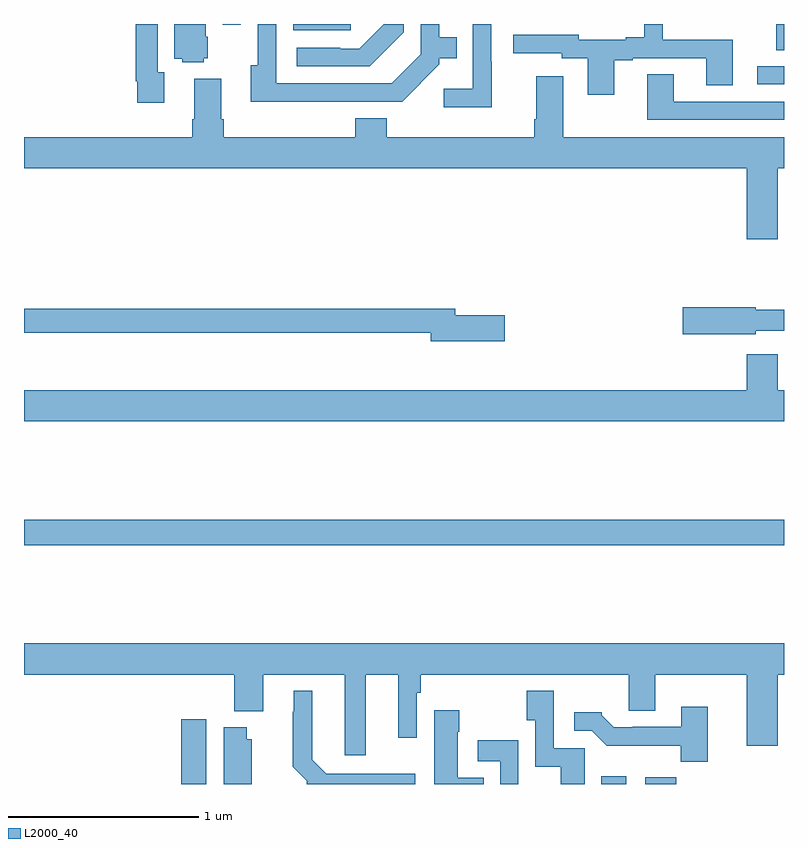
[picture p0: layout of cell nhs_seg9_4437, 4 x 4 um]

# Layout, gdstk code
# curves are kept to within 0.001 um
import gdstk
lib = gdstk.Library(unit=1e-6, precision=1e-09)
def R(c, l, rs):  # rectangles x0, y0, x1, y1
    for r in rs: c.add(gdstk.rectangle(r[:2], r[2:], *l))
def P(c, l, *ps):  # polygons
    for p in ps: c.add(gdstk.Polygon(p, *l))
L2000_40 = (2000, 40)

nhs_seg9_4437 = lib.new_cell('nhs_seg9_4437')
R(nhs_seg9_4437, L2000_40, [(365.828,1206.5,365.959,1206.841), (368.039,1206.5,368.17,1206.541), (368.27,1206.5,368.432,1206.535), (365,1207.756,369,1207.892), (368.859,1210.182,369,1210.278), (368.959,1210.363,369,1210.5), (366.416,1210.467,366.721,1210.5), (366.045,1210.497,366.141,1210.5)])
P(nhs_seg9_4437, L2000_40, [(365.737,1210.247),(365.703,1210.247),(365.703,1210.5),(365.587,1210.5),(365.587,1210.198),(365.595,1210.198),(365.595,1210.086),(365.737,1210.086)],
  [(366.999,1210.457),(366.999,1210.5),(366.894,1210.5),(366.765,1210.371),(366.665,1210.371),(366.665,1210.374),(366.435,1210.374),(366.435,1210.278),(366.82,1210.278)],
  [(367.461,1210.301),(367.458,1210.301),(367.458,1210.5),(367.362,1210.5),(367.362,1210.159),(367.209,1210.159),(367.209,1210.061),(367.461,1210.061)],
  [(365.946,1210.32),(365.968,1210.32),(365.968,1210.434),(365.956,1210.434),(365.956,1210.5),(365.792,1210.5),(365.792,1210.316),(365.832,1210.316),(365.832,1210.298),(365.946,1210.298)],
  [(366.659,1210.092),(366.99,1210.092),(367.185,1210.287),(367.185,1210.319),(367.277,1210.319),(367.277,1210.429),(367.186,1210.429),(367.186,1210.5),(367.089,1210.5),(367.089,1210.341),(366.936,1210.188),(366.327,1210.188),(366.327,1210.5),(366.231,1210.5),(366.231,1210.282),(366.194,1210.282),(366.194,1210.091)],
  [(368.107,1210.308),(368.203,1210.308),(368.203,1210.32),(368.591,1210.32),(368.591,1210.177),(368.731,1210.177),(368.731,1210.416),(368.361,1210.416),(368.361,1210.5),(368.264,1210.5),(368.264,1210.429),(368.168,1210.429),(368.168,1210.416),(367.92,1210.416),(367.92,1210.443),(367.575,1210.443),(367.575,1210.347),(367.83,1210.347),(367.83,1210.32),(367.967,1210.32),(367.967,1210.128),(368.107,1210.128)],
  [(369,1210.092),(368.419,1210.092),(368.419,1210.235),(368.279,1210.235),(368.279,1209.996),(369,1209.996)],
  [(368.968,1209.74),(369,1209.74),(369,1209.904),(367.837,1209.904),(367.837,1210.225),(367.697,1210.225),(367.697,1210),(367.685,1210),(367.685,1209.904),(366.908,1209.904),(366.908,1210.003),(366.743,1210.003),(366.743,1209.904),(366.05,1209.904),(366.05,1210),(366.037,1210),(366.037,1210.213),(365.897,1210.213),(365.897,1210),(365.885,1210),(365.885,1209.904),(365,1209.904),(365,1209.74),(368.804,1209.74),(368.804,1209.366),(368.968,1209.366)],
  [(368.85,1208.886),(369,1208.886),(369,1208.995),(368.85,1208.995),(368.85,1209.008),(368.466,1209.008),(368.466,1208.866),(368.85,1208.866)],
  [(367.531,1208.966),(367.27,1208.966),(367.27,1209.002),(365,1209.002),(365,1208.874),(367.142,1208.874),(367.142,1208.831),(367.531,1208.831)],
  [(369,1208.572),(368.968,1208.572),(368.968,1208.761),(368.804,1208.761),(368.804,1208.572),(365,1208.572),(365,1208.408),(369,1208.408)],
  [(366.799,1207.076),(366.971,1207.076),(366.971,1206.744),(367.068,1206.744),(367.068,1206.98),(367.088,1206.98),(367.088,1207.076),(368.183,1207.076),(368.183,1206.886),(368.323,1206.886),(368.323,1207.076),(368.804,1207.076),(368.804,1206.702),(368.968,1206.702),(368.968,1207.076),(369,1207.076),(369,1207.24),(365,1207.24),(365,1207.076),(366.107,1207.076),(366.107,1206.884),(366.259,1206.884),(366.259,1207.076),(366.689,1207.076),(366.689,1206.651),(366.799,1206.651)],
  [(367.06,1206.553),(366.591,1206.553),(366.517,1206.628),(366.517,1206.991),(366.419,1206.991),(366.419,1206.881),(366.415,1206.881),(366.415,1206.59),(366.489,1206.516),(366.489,1206.5),(367.06,1206.5)],
  [(367.951,1206.687),(367.788,1206.687),(367.788,1206.991),(367.645,1206.991),(367.645,1206.835),(367.692,1206.835),(367.692,1206.59),(367.826,1206.59),(367.826,1206.5),(367.951,1206.5)],
  [(368.599,1206.907),(368.459,1206.907),(368.459,1206.801),(368.203,1206.801),(368.203,1206.798),(368.104,1206.798),(368.04,1206.862),(368.04,1206.877),(367.896,1206.877),(367.896,1206.78),(367.989,1206.78),(368.068,1206.702),(368.457,1206.702),(368.457,1206.617),(368.599,1206.617)],
  [(367.421,1206.532),(367.282,1206.532),(367.282,1206.776),(367.29,1206.776),(367.29,1206.889),(367.16,1206.889),(367.16,1206.5),(367.421,1206.5)],
  [(366.199,1206.735),(366.172,1206.735),(366.172,1206.799),(366.05,1206.799),(366.05,1206.5),(366.199,1206.5)],
  [(367.602,1206.73),(367.389,1206.73),(367.389,1206.621),(367.506,1206.621),(367.506,1206.5),(367.602,1206.5)])

lib.write_gds('nhs_seg9_4437.gds')
